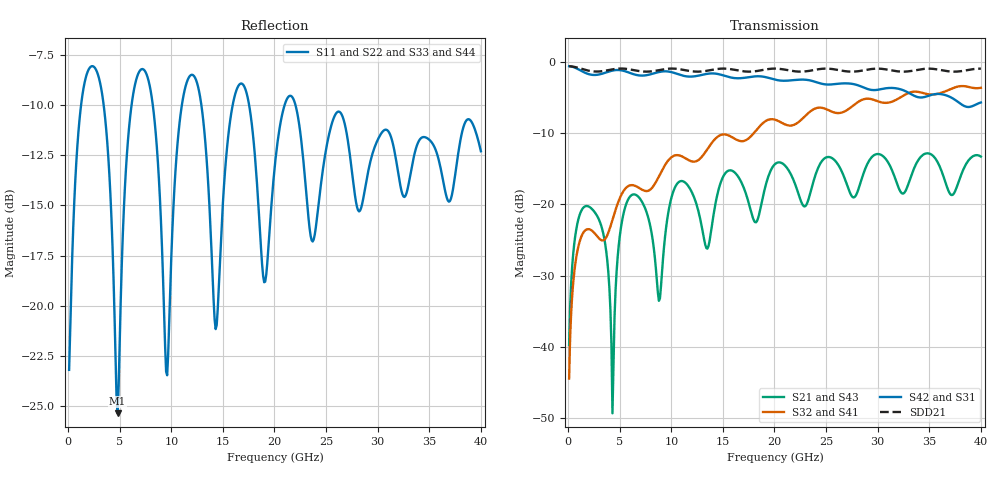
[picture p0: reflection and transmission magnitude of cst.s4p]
! T_ts6_diff_ms: Edge-coupled microstrip pair L1, w 0.127 / s 0.127 mm (ThunderScope default), 20 mm
! stackup: ThunderScope Rev5.3 6-layer (FR408HR / FR-4, from the board file)
! ports: 1 near A, 2 near B, 3 far A, 4 far B
! CST Studio Suite 2025.5 Release from 2025-05-30, time domain (FIT, hexahedral, PBA), 161240 mesh cells, 43 s
! mesh: {'lpw': 20, 'lpb': 20, 'minstep': 0.0, 'ratio': 20}; ports: port 1 (face); port 2 (face); port 3 (face); port 4 (face)
! interpolated from CST's 1001 samples to the case grid
# Hz S RI R 50
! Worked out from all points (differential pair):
!   400 points, 100 MHz to 40 GHz, reference 50 ohm
!   strongest paths, dB at 100 MHz, 10.1 GHz, 20.1 GHz, 30.1 GHz, 40 GHz:
!     S42: -0.6, -1.5, -2.5, -3.9, -5.7
!     S31: -0.6, -1.5, -2.5, -3.9, -5.7
!     S32: -44.5, -13.3, -8.1, -5.6, -3.6
!     S41: -44.5, -13.3, -8.1, -5.6, -3.6
!     S21: -39.8, -18.6, -14.3, -12.9, -13.3
!     S43: -39.8, -18.6, -14.3, -12.9, -13.3
!   taken as a pair (ports 2,1 in; 4,3 out), SDD21 dB: -0.6, -0.9, -0.9, -0.9, -0.9
!   lowest |S11| = -25.4 dB at 4.8 GHz (marker M1), VSWR 1.11, Z = 55.7 + j0.767 ohm
!   |S11| at or under -10 dB: 12.91 GHz to 15.95 GHz (3.041 GHz wide, 21.1 % of centre); 17.54 GHz to 20.99 GHz (3.447 GHz wide, 17.9 % of centre); 22.03 GHz to end of sweep (the widest 3 of 6)
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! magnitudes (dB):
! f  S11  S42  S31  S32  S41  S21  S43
! 100 MHz  -23.2  -0.6  -0.6  -44.5  -44.5  -39.8  -39.8
! 2.7 GHz  -8.2  -1.8  -1.8  -24.3  -24.3  -21.4  -21.4
! 4.3 GHz  -17.0  -1.2  -1.2  -22.2  -22.2  -49.3  -49.3
! 4.8 GHz  -25.4  -1.1  -1.1  -19.9  -19.9  -27.5  -27.5
! 7.1 GHz  -8.2  -1.9  -1.9  -17.9  -17.9  -19.5  -19.5
! 9.6 GHz  -23.5  -1.3  -1.3  -14.0  -14.0  -22.2  -22.2
! 40 GHz  -12.3  -5.7  -5.7  -3.6  -3.6  -13.3  -13.3
